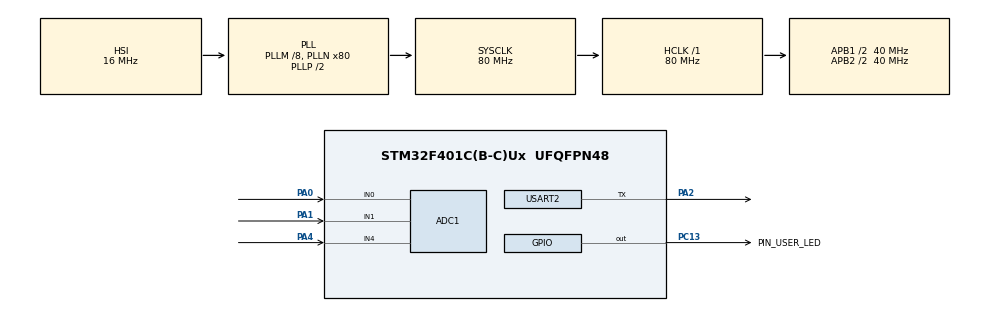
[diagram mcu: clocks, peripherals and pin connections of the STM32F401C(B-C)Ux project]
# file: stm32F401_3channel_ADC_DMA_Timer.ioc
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ADC1.Channel-0\#ChannelRegularConversion=ADC_CHANNEL_0
ADC1.Channel-1\#ChannelRegularConversion=ADC_CHANNEL_1
ADC1.Channel-2\#ChannelRegularConversion=ADC_CHANNEL_4
ADC1.Channel-3\#ChannelRegularConversion=ADC_CHANNEL_TEMPSENSOR
ADC1.ClockPrescaler=ADC_CLOCK_SYNC_PCLK_DIV4
ADC1.ContinuousConvMode=DISABLE
ADC1.DMAContinuousRequests=ENABLE
ADC1.EOCSelection=ADC_EOC_SEQ_CONV
ADC1.ExternalTrigConv=ADC_EXTERNALTRIGCONV_T2_TRGO
ADC1.NbrOfConversion=4
ADC1.NbrOfConversionFlag=1
ADC1.Rank-0\#ChannelRegularConversion=1
ADC1.Rank-1\#ChannelRegularConversion=2
ADC1.Rank-2\#ChannelRegularConversion=3
ADC1.Rank-3\#ChannelRegularConversion=4
ADC1.SamplingTime-0\#ChannelRegularConversion=ADC_SAMPLETIME_28CYCLES
ADC1.SamplingTime-1\#ChannelRegularConversion=ADC_SAMPLETIME_28CYCLES
ADC1.SamplingTime-2\#ChannelRegularConversion=ADC_SAMPLETIME_28CYCLES
ADC1.SamplingTime-3\#ChannelRegularConversion=ADC_SAMPLETIME_112CYCLES
ADC1.master=1
Dma.ADC1.0.Direction=DMA_PERIPH_TO_MEMORY
Dma.ADC1.0.FIFOMode=DMA_FIFOMODE_DISABLE
Dma.ADC1.0.Instance=DMA2_Stream0
Dma.ADC1.0.MemDataAlignment=DMA_MDATAALIGN_HALFWORD
Dma.ADC1.0.MemInc=DMA_MINC_ENABLE
Dma.ADC1.0.Mode=DMA_CIRCULAR
Dma.ADC1.0.PeriphDataAlignment=DMA_PDATAALIGN_HALFWORD
Dma.ADC1.0.PeriphInc=DMA_PINC_DISABLE
Dma.ADC1.0.Priority=DMA_PRIORITY_LOW
Dma.Request0=ADC1
Mcu.Family=STM32F4
Mcu.Name=STM32F401C(B-C)Ux
Mcu.Package=UFQFPN48
NVIC.ADC_IRQn=true\:0\:0\:false\:false\:true\:true\:true\:true
NVIC.DMA2_Stream0_IRQn=true\:0\:0\:false\:false\:true\:false\:true\:true
NVIC.PriorityGroup=NVIC_PRIORITYGROUP_4
PA0-WKUP.Signal=ADCx_IN0
PA1.Signal=ADCx_IN1
PA13.Mode=Serial_Wire
PA13.Signal=SYS_JTMS-SWDIO
PA14.Mode=Serial_Wire
PA14.Signal=SYS_JTCK-SWCLK
PA2.Mode=Half_duplex(single_wire_mode)
PA2.Signal=USART2_TX
PA4.Signal=ADCx_IN4
PC13-ANTI_TAMP.GPIO_Label=PIN_USER_LED
PC13-ANTI_TAMP.Signal=GPIO_Output
ProjectManager.HeapSize=0x200
ProjectManager.StackSize=0x400
ProjectManager.TargetToolchain=STM32CubeIDE
RCC.48MHZClocksFreq_Value=40000000
RCC.AHBFreq_Value=80000000
RCC.APB1CLKDivider=RCC_HCLK_DIV2
RCC.APB1Freq_Value=40000000
RCC.APB1TimFreq_Value=80000000
RCC.APB2CLKDivider=RCC_HCLK_DIV2
RCC.APB2Freq_Value=40000000
RCC.APB2TimFreq_Value=80000000
RCC.CortexFreq_Value=80000000
RCC.HCLKFreq_Value=80000000
RCC.HSE_VALUE=25000000
RCC.HSI_VALUE=16000000
RCC.LSE_VALUE=32768
RCC.PLLM=8
RCC.PLLN=80
RCC.SYSCLKFreq_VALUE=80000000
RCC.SYSCLKSource=RCC_SYSCLKSOURCE_PLLCLK
RCC.VCOOutputFreq_Value=160000000
SH.ADCx_IN0.0=ADC1_IN0,IN0
SH.ADCx_IN1.0=ADC1_IN1,IN1
SH.ADCx_IN4.0=ADC1_IN4,IN4
TIM2.Period=3999
TIM2.Prescaler=39999
TIM2.TIM_MasterOutputTrigger=TIM_TRGO_UPDATE
USART2.Mode=MODE_TX
USART2.Parity=PARITY_EVEN
USART2.VirtualMode=VM_ASYNC
VP_ADC1_TempSens_Input.Mode=IN-TempSens
VP_TIM2_VS_ClockSourceINT.Mode=Internal
board=custom

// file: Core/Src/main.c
/* USER CODE BEGIN Header */
/**
 ******************************************************************************
 * @file           : main.c
 * @brief          : Main program body
 ******************************************************************************
 * @attention
 *
 * Copyright (c) 2022 STMicroelectronics.
 * All rights reserved.
 *
 * This software is licensed under terms that can be found in the LICENSE file
 * in the root directory of this software component.
 * If no LICENSE file comes with this software, it is provided AS-IS.
 *
 ******************************************************************************
 */
/* USER CODE END Header */
#include "main.h"

ADC_HandleTypeDef hadc1;
DMA_HandleTypeDef hdma_adc1;

TIM_HandleTypeDef htim2;

UART_HandleTypeDef huart2;

void SystemClock_Config(void);
static void MX_GPIO_Init(void);
static void MX_DMA_Init(void);
static void MX_ADC1_Init(void);
static void MX_USART2_UART_Init(void);
static void MX_TIM2_Init(void);

/* USER CODE BEGIN 0 */
#ifdef __GNUC__
/* With GCC, small printf (option LD Linker->Libraries->Small printf
 set to 'Yes') calls __io_putchar() */
#define PUTCHAR_PROTOTYPE int __io_putchar(int ch)
#else
#define PUTCHAR_PROTOTYPE int fputc(int ch, FILE *f)
#endif /* __GNUC__ */

//must have this to print in uart com port
PUTCHAR_PROTOTYPE {
	// Place your implementation of fputc here
	// e.g. write a character to the EVAL_COM1 and Loop until the end of transmission
	HAL_UART_Transmit(&huart2, (uint8_t*) &ch, 1, 0xFFFF);

	return ch;
}

// ADC complete callback only fire after the whole buffer is done
// if ADC once convert 4, then it takes 25times of the timer
// if each timer is 2 seconds, then it need 25timesX2sec = 50seconds to fill the whole 100 buffer.
//#define ADC_BUF_LEN 100

#define ADC_BUF_LEN 4
uint16_t adc_buf[ADC_BUF_LEN];

// only PA0, PA1, PA4 is defined as adc input channel.
// connect PA0 to GND, PA1 to mid point of 10K and 10K from 3.3V and GND, PA4 to 3.3V.
void select_ADC_Channel(uint32_t channel) {
	ADC_ChannelConfTypeDef sConfig = { 0 };
	/** Configure for the selected ADC regular channel its corresponding rank in the sequencer and its sample time.
	 */

	switch (channel) {
	case 0:
		channel = ADC_CHANNEL_0;
		break;
	case 1:
		channel = ADC_CHANNEL_1;
		break;
	case 2:
		channel = ADC_CHANNEL_4;
		break;
	default:
		return;
	}

	sConfig.Channel = channel;
	sConfig.Rank = 1;
	sConfig.SamplingTime = ADC_SAMPLETIME_84CYCLES;
	if (HAL_ADC_ConfigChannel(&hadc1, &sConfig) != HAL_OK) {
		Error_Handler();
	}

}

float adc_val_to_voltage(uint16_t adc_val) {
	float ADC_MAX = 4095.0;
	float Vref = 3.3;
	float adc_voltage = Vref * 1.0f * adc_val / ADC_MAX;
	return adc_voltage;
}

/*
 void HAL_TIM_PeriodElapsedCallback(TIM_HandleTypeDef *htim) {
 static GPIO_PinState led_val = 0;

 HAL_GPIO_WritePin(PIN_USER_LED_GPIO_Port, PIN_USER_LED_Pin, led_val);
 led_val = !led_val;

 }
 */

float Vref = 3300;

float adc_val_to_temp_sys(uint16_t adc_val) {

	int temp = __LL_ADC_CALC_TEMPERATURE(Vref, adc_val, LL_ADC_RESOLUTION_12B);
	return temp;

}

float adc_val_to_temp(uint16_t adc_data) {
	const float V25 = 0.76, AVG_Slope = 0.002f;

	float adc_voltage = __LL_ADC_CALC_DATA_TO_VOLTAGE(adc_data, Vref, LL_ADC_RESOLUTION_12B)/1000.0f;
	// float adc_vol = adc_val_to_voltage(adc_val);
	float temp = (adc_voltage - V25) / AVG_Slope + 25;

	return temp;
}

void show_adc_buf() {

	uint16_t temp_adc_val = adc_buf[3];

	float temp = adc_val_to_temp(temp_adc_val);
	printf(" adc value: %u %u %u  %u  , temp: %.1f\n\r", adc_buf[0], adc_buf[1],
			adc_buf[2], adc_buf[3], temp);

}

// Callback: timer has rolled over
void HAL_TIM_PeriodElapsedCallback(TIM_HandleTypeDef *htim) {

	// nothing happens here???
	printf("zzz");
	HAL_GPIO_TogglePin(PIN_USER_LED_GPIO_Port, PIN_USER_LED_Pin);

	// Check which version of the timer triggered this callback and toggle LED
	if (htim == &htim2) {
		printf("tim2");

	} else {
		printf("other");
	}

}

// ADC_BUF_LEN 4
// call back when the whole buffer is filled.
// if ADC convert length is 4, buffer is 4, then each timer has one call back.
// if buffer is larger than the ADC convert length, it takes multiple timer.
void HAL_ADC_ConvCpltCallback(ADC_HandleTypeDef *hadc) {

	// if need to stop ADC from now on, call  HAL_ADC_Stop_DMA(&hadc1);
	HAL_GPIO_WritePin(GPIOC, PIN_USER_LED_Pin, GPIO_PIN_RESET);
	show_adc_buf();
	HAL_GPIO_WritePin(GPIOC, PIN_USER_LED_Pin, GPIO_PIN_SET);

}

void HAL_ADC_ConvHalfCpltCallback(ADC_HandleTypeDef *hadc) {
	//HAL_GPIO_WritePin(GPIOC, PIN_USER_LED_Pin, GPIO_PIN_RESET);
	//printf("HAL_ADC_ConvHalfCpltCallback adc PA  read  %hu\r\n",  adc_buf[0]);

}

/* USER CODE END 0 */

int main(void)
{

  /* MCU Configuration--------------------------------------------------------*/

  /* Reset of all peripherals, Initializes the Flash interface and the Systick. */
  HAL_Init();

  /* Configure the system clock */
  SystemClock_Config();

  /* Initialize all configured peripherals */
  MX_GPIO_Init();
  MX_DMA_Init();
  MX_ADC1_Init();
  MX_USART2_UART_Init();
  MX_TIM2_Init();
  /* USER CODE BEGIN 2 */

  if ( HAL_OK!= HAL_ADC_Start_DMA(&hadc1, (uint16_t*) adc_buf, ADC_BUF_LEN))
  	{
         Error_Handler();
  	}

  // adc must start first to receive timer interrupt.
  if   ( HAL_ADC_Start_IT(&hadc1)  != HAL_OK )
  {
	  Error_Handler();
  }

	if (HAL_TIM_Base_Start(&htim2) != HAL_OK) {
		Error_Handler();
	};

  /* USER CODE END 2 */

  /* Infinite loop */
  /* USER CODE BEGIN WHILE */
  while (1)
  {

		int timer_val = __HAL_TIM_GET_COUNTER(&htim2);
		printf("timer is %u\n\r", timer_val);
		HAL_Delay(1000);
    /* USER CODE END WHILE */

	}
}

void SystemClock_Config(void)
{
  RCC_OscInitTypeDef RCC_OscInitStruct = {0};
  RCC_ClkInitTypeDef RCC_ClkInitStruct = {0};

  /** Configure the main internal regulator output voltage
  */
  __HAL_RCC_PWR_CLK_ENABLE();
  __HAL_PWR_VOLTAGESCALING_CONFIG(PWR_REGULATOR_VOLTAGE_SCALE2);

  /** Initializes the RCC Oscillators according to the specified parameters
  * in the RCC_OscInitTypeDef structure.
  */
  RCC_OscInitStruct.OscillatorType = RCC_OSCILLATORTYPE_HSI;
  RCC_OscInitStruct.HSIState = RCC_HSI_ON;
  RCC_OscInitStruct.HSICalibrationValue = RCC_HSICALIBRATION_DEFAULT;
  RCC_OscInitStruct.PLL.PLLState = RCC_PLL_ON;
  RCC_OscInitStruct.PLL.PLLSource = RCC_PLLSOURCE_HSI;
  RCC_OscInitStruct.PLL.PLLM = 8;
  RCC_OscInitStruct.PLL.PLLN = 80;
  RCC_OscInitStruct.PLL.PLLP = RCC_PLLP_DIV2;
  RCC_OscInitStruct.PLL.PLLQ = 4;
  if (HAL_RCC_OscConfig(&RCC_OscInitStruct) != HAL_OK)
  {
    Error_Handler();
  }

  /** Initializes the CPU, AHB and APB buses clocks
  */
  RCC_ClkInitStruct.ClockType = RCC_CLOCKTYPE_HCLK|RCC_CLOCKTYPE_SYSCLK
                              |RCC_CLOCKTYPE_PCLK1|RCC_CLOCKTYPE_PCLK2;
  RCC_ClkInitStruct.SYSCLKSource = RCC_SYSCLKSOURCE_PLLCLK;
  RCC_ClkInitStruct.AHBCLKDivider = RCC_SYSCLK_DIV1;
  RCC_ClkInitStruct.APB1CLKDivider = RCC_HCLK_DIV2;
  RCC_ClkInitStruct.APB2CLKDivider = RCC_HCLK_DIV2;

  if (HAL_RCC_ClockConfig(&RCC_ClkInitStruct, FLASH_LATENCY_2) != HAL_OK)
  {
    Error_Handler();
  }
}

static void MX_ADC1_Init(void)
{

  ADC_ChannelConfTypeDef sConfig = {0};

  /** Configure the global features of the ADC (Clock, Resolution, Data Alignment and number of conversion)
  */
  hadc1.Instance = ADC1;
  hadc1.Init.ClockPrescaler = ADC_CLOCK_SYNC_PCLK_DIV4;
  hadc1.Init.Resolution = ADC_RESOLUTION_12B;
  hadc1.Init.ScanConvMode = ENABLE;
  hadc1.Init.ContinuousConvMode = DISABLE;
  hadc1.Init.DiscontinuousConvMode = DISABLE;
  hadc1.Init.ExternalTrigConvEdge = ADC_EXTERNALTRIGCONVEDGE_RISING;
  hadc1.Init.ExternalTrigConv = ADC_EXTERNALTRIGCONV_T2_TRGO;
  hadc1.Init.DataAlign = ADC_DATAALIGN_RIGHT;
  hadc1.Init.NbrOfConversion = 4;
  hadc1.Init.DMAContinuousRequests = ENABLE;
  hadc1.Init.EOCSelection = ADC_EOC_SEQ_CONV;
  if (HAL_ADC_Init(&hadc1) != HAL_OK)
  {
    Error_Handler();
  }

  /** Configure for the selected ADC regular channel its corresponding rank in the sequencer and its sample time.
  */
  sConfig.Channel = ADC_CHANNEL_0;
  sConfig.Rank = 1;
  sConfig.SamplingTime = ADC_SAMPLETIME_28CYCLES;
  if (HAL_ADC_ConfigChannel(&hadc1, &sConfig) != HAL_OK)
  {
    Error_Handler();
  }

  /** Configure for the selected ADC regular channel its corresponding rank in the sequencer and its sample time.
  */
  sConfig.Channel = ADC_CHANNEL_1;
  sConfig.Rank = 2;
  if (HAL_ADC_ConfigChannel(&hadc1, &sConfig) != HAL_OK)
  {
    Error_Handler();
  }

  /** Configure for the selected ADC regular channel its corresponding rank in the sequencer and its sample time.
  */
  sConfig.Channel = ADC_CHANNEL_9;
  sConfig.Rank = 3;
  if (HAL_ADC_ConfigChannel(&hadc1, &sConfig) != HAL_OK)
  {
    Error_Handler();
  }

  /** Configure for the selected ADC regular channel its corresponding rank in the sequencer and its sample time.
  */
  sConfig.Channel = ADC_CHANNEL_TEMPSENSOR;
  sConfig.Rank = 4;
  sConfig.SamplingTime = ADC_SAMPLETIME_112CYCLES;
  if (HAL_ADC_ConfigChannel(&hadc1, &sConfig) != HAL_OK)
  {
    Error_Handler();
  }

}

static void MX_TIM2_Init(void)
{

  TIM_ClockConfigTypeDef sClockSourceConfig = {0};
  TIM_MasterConfigTypeDef sMasterConfig = {0};

  htim2.Instance = TIM2;
  htim2.Init.Prescaler = 39999;
  htim2.Init.CounterMode = TIM_COUNTERMODE_UP;
  htim2.Init.Period = 3999;
  htim2.Init.ClockDivision = TIM_CLOCKDIVISION_DIV1;
  htim2.Init.AutoReloadPreload = TIM_AUTORELOAD_PRELOAD_DISABLE;
  if (HAL_TIM_Base_Init(&htim2) != HAL_OK)
  {
    Error_Handler();
  }
  sClockSourceConfig.ClockSource = TIM_CLOCKSOURCE_INTERNAL;
  if (HAL_TIM_ConfigClockSource(&htim2, &sClockSourceConfig) != HAL_OK)
  {
    Error_Handler();
  }
  sMasterConfig.MasterOutputTrigger = TIM_TRGO_UPDATE;
  sMasterConfig.MasterSlaveMode = TIM_MASTERSLAVEMODE_DISABLE;
  if (HAL_TIMEx_MasterConfigSynchronization(&htim2, &sMasterConfig) != HAL_OK)
  {
    Error_Handler();
  }

}

static void MX_USART2_UART_Init(void)
{

  huart2.Instance = USART2;
  huart2.Init.BaudRate = 115200;
  huart2.Init.WordLength = UART_WORDLENGTH_8B;
  huart2.Init.StopBits = UART_STOPBITS_1;
  huart2.Init.Parity = UART_PARITY_EVEN;
  huart2.Init.Mode = UART_MODE_TX;
  huart2.Init.HwFlowCtl = UART_HWCONTROL_NONE;
  huart2.Init.OverSampling = UART_OVERSAMPLING_16;
  if (HAL_HalfDuplex_Init(&huart2) != HAL_OK)
  {
    Error_Handler();
  }

}

static void MX_DMA_Init(void)
{

  /* DMA controller clock enable */
  __HAL_RCC_DMA2_CLK_ENABLE();

  /* DMA interrupt init */
  /* DMA2_Stream0_IRQn interrupt configuration */
  HAL_NVIC_SetPriority(DMA2_Stream0_IRQn, 0, 0);
  HAL_NVIC_EnableIRQ(DMA2_Stream0_IRQn);

}

static void MX_GPIO_Init(void)
{
  GPIO_InitTypeDef GPIO_InitStruct = {0};

  /* GPIO Ports Clock Enable */
  __HAL_RCC_GPIOC_CLK_ENABLE();
  __HAL_RCC_GPIOA_CLK_ENABLE();
  __HAL_RCC_GPIOB_CLK_ENABLE();

  /*Configure GPIO pin Output Level */
  HAL_GPIO_WritePin(PIN_USER_LED_GPIO_Port, PIN_USER_LED_Pin, GPIO_PIN_RESET);

  /*Configure GPIO pin : PIN_USER_LED_Pin */
  GPIO_InitStruct.Pin = PIN_USER_LED_Pin;
  GPIO_InitStruct.Mode = GPIO_MODE_OUTPUT_PP;
  GPIO_InitStruct.Pull = GPIO_NOPULL;
  GPIO_InitStruct.Speed = GPIO_SPEED_FREQ_LOW;
  HAL_GPIO_Init(PIN_USER_LED_GPIO_Port, &GPIO_InitStruct);

}

void Error_Handler(void)
{
  /* USER CODE BEGIN Error_Handler_Debug */
	/* User can add his own implementation to report the HAL error return state */
	printf("error_handler()");
	__disable_irq();
	while (1) {
	}
  /* USER CODE END Error_Handler_Debug */
}
